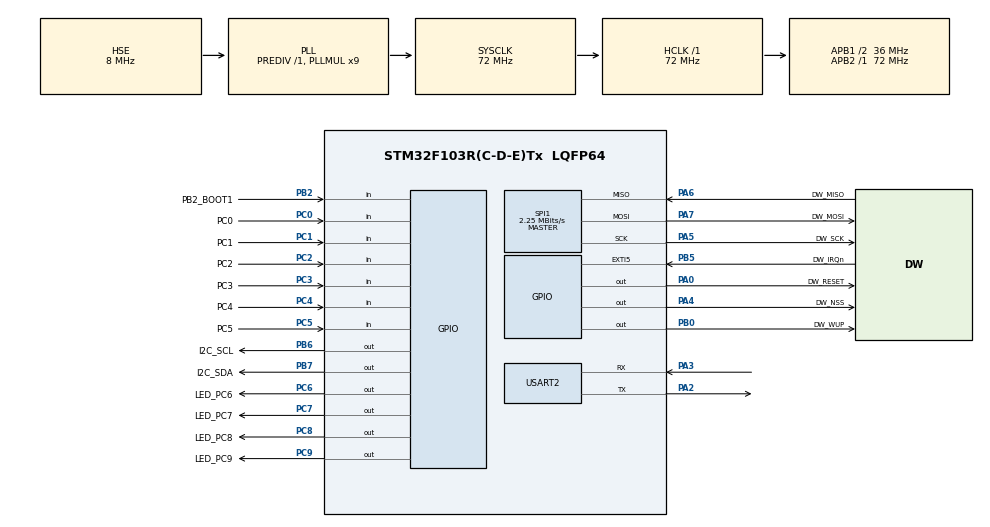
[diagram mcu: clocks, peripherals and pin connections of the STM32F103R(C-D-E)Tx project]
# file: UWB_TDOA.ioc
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Dma.Request0=USART2_RX
Dma.Request1=USART2_TX
Dma.USART2_RX.0.Direction=DMA_PERIPH_TO_MEMORY
Dma.USART2_RX.0.Instance=DMA1_Channel6
Dma.USART2_RX.0.MemDataAlignment=DMA_MDATAALIGN_BYTE
Dma.USART2_RX.0.MemInc=DMA_MINC_ENABLE
Dma.USART2_RX.0.Mode=DMA_CIRCULAR
Dma.USART2_RX.0.PeriphDataAlignment=DMA_PDATAALIGN_BYTE
Dma.USART2_RX.0.PeriphInc=DMA_PINC_DISABLE
Dma.USART2_RX.0.Priority=DMA_PRIORITY_LOW
Dma.USART2_TX.1.Direction=DMA_MEMORY_TO_PERIPH
Dma.USART2_TX.1.Instance=DMA1_Channel7
Dma.USART2_TX.1.MemDataAlignment=DMA_MDATAALIGN_BYTE
Dma.USART2_TX.1.MemInc=DMA_MINC_ENABLE
Dma.USART2_TX.1.Mode=DMA_NORMAL
Dma.USART2_TX.1.PeriphDataAlignment=DMA_PDATAALIGN_BYTE
Dma.USART2_TX.1.PeriphInc=DMA_PINC_DISABLE
Dma.USART2_TX.1.Priority=DMA_PRIORITY_LOW
IWDG.Prescaler=IWDG_PRESCALER_64
IWDG.Reload=1000
Mcu.Family=STM32F1
Mcu.Name=STM32F103R(C-D-E)Tx
Mcu.Package=LQFP64
NVIC.DMA1_Channel6_IRQn=true\:0\:0\:false\:false\:true\:false\:true\:true
NVIC.DMA1_Channel7_IRQn=true\:0\:0\:false\:false\:true\:false\:true\:true
NVIC.EXTI9_5_IRQn=true\:0\:0\:false\:false\:true\:true\:true\:true
NVIC.PriorityGroup=NVIC_PRIORITYGROUP_4
NVIC.USART2_IRQn=true\:1\:0\:true\:false\:true\:true\:true\:true
PA0-WKUP.GPIO_Label=DW_RESET
PA0-WKUP.Signal=GPIO_Output
PA13.Mode=Serial_Wire
PA13.Signal=SYS_JTMS-SWDIO
PA14.Mode=Serial_Wire
PA14.Signal=SYS_JTCK-SWCLK
PA2.GPIO_Speed=GPIO_SPEED_FREQ_MEDIUM
PA2.Mode=Asynchronous
PA2.Signal=USART2_TX
PA3.Mode=Asynchronous
PA3.Signal=USART2_RX
PA4.GPIO_Label=DW_NSS
PA4.GPIO_Speed=GPIO_SPEED_FREQ_HIGH
PA4.PinState=GPIO_PIN_SET
PA4.Signal=GPIO_Output
PA5.GPIO_Label=DW_SCK
PA5.Mode=Full_Duplex_Master
PA5.Signal=SPI1_SCK
PA6.GPIO_Label=DW_MISO
PA6.GPIO_PuPd=GPIO_PULLDOWN
PA6.Mode=Full_Duplex_Master
PA6.Signal=SPI1_MISO
PA7.GPIO_Label=DW_MOSI
PA7.Mode=Full_Duplex_Master
PA7.Signal=SPI1_MOSI
PB0.GPIO_Label=DW_WUP
PB0.GPIO_PuPd=GPIO_PULLDOWN
PB0.Signal=GPIO_Output
PB2.GPIO_Label=PB2_BOOT1
PB2.Signal=GPIO_Input
PB5.GPIO_Label=DW_IRQn
PB5.GPIO_PuPd=GPIO_PULLDOWN
PB5.Signal=GPXTI5
PB6.GPIO_Label=I2C_SCL
PB6.GPIO_ModeDefaultOutputPP=GPIO_MODE_OUTPUT_OD
PB6.GPIO_PuPd=GPIO_NOPULL
PB6.GPIO_Speed=GPIO_SPEED_FREQ_MEDIUM
PB6.Signal=GPIO_Output
PB7.GPIO_Label=I2C_SDA
PB7.GPIO_ModeDefaultOutputPP=GPIO_MODE_OUTPUT_OD
PB7.GPIO_PuPd=GPIO_NOPULL
PB7.GPIO_Speed=GPIO_SPEED_FREQ_MEDIUM
PB7.Signal=GPIO_Output
PC0.GPIO_Label=PC0
PC0.Signal=GPIO_Input
PC1.GPIO_Label=PC1
PC1.Signal=GPIO_Input
PC2.GPIO_Label=PC2
PC2.Signal=GPIO_Input
PC3.GPIO_Label=PC3
PC3.Signal=GPIO_Input
PC4.GPIO_Label=PC4
PC4.Signal=GPIO_Input
PC5.GPIO_Label=PC5
PC5.Signal=GPIO_Input
PC6.GPIO_Label=LED_PC6
PC6.Signal=GPIO_Output
PC7.GPIO_Label=LED_PC7
PC7.Signal=GPIO_Output
PC8.GPIO_Label=LED_PC8
PC8.Signal=GPIO_Output
PC9.GPIO_Label=LED_PC9
PC9.Signal=GPIO_Output
PD0-OSC_IN.Mode=HSE-External-Oscillator
PD0-OSC_IN.Signal=RCC_OSC_IN
PD1-OSC_OUT.Mode=HSE-External-Oscillator
PD1-OSC_OUT.Signal=RCC_OSC_OUT
ProjectManager.HeapSize=0x400
ProjectManager.StackSize=0x400
ProjectManager.TargetToolchain=Makefile
RCC.AHBFreq_Value=72000000
RCC.APB1CLKDivider=RCC_HCLK_DIV2
RCC.APB1Freq_Value=36000000
RCC.APB1TimFreq_Value=72000000
RCC.APB2Freq_Value=72000000
RCC.APB2TimFreq_Value=72000000
RCC.HCLKFreq_Value=72000000
RCC.PLLMUL=RCC_PLL_MUL9
RCC.PLLSourceVirtual=RCC_PLLSOURCE_HSE
RCC.SYSCLKFreq_VALUE=72000000
RCC.SYSCLKSource=RCC_SYSCLKSOURCE_PLLCLK
RCC.USBFreq_Value=72000000
SPI1.BaudRatePrescaler=SPI_BAUDRATEPRESCALER_32
SPI1.CalculateBaudRate=2.25 MBits/s
SPI1.Direction=SPI_DIRECTION_2LINES
SPI1.Mode=SPI_MODE_MASTER
SPI1.VirtualType=VM_MASTER
TIM6.Prescaler=64-1
USART2.VirtualMode=VM_ASYNC
VP_IWDG_VS_IWDG.Mode=IWDG_Activate
VP_TIM6_VS_ClockSourceINT.Mode=Enable_Timer
board=custom

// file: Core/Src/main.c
/* USER CODE BEGIN Header */
/**
 ******************************************************************************
 * @file           : main.c
 * @brief          : Main program body
 ******************************************************************************
 * @attention
 *
 * Copyright (c) 2023 STMicroelectronics.
 * All rights reserved.
 *
 * This software is licensed under terms that can be found in the LICENSE file
 * in the root directory of this software component.
 * If no LICENSE file comes with this software, it is provided AS-IS.
 *
 ******************************************************************************
 */
/* USER CODE END Header */
#include "main.h"
#include "dma.h"
#include "iwdg.h"
#include "spi.h"
#include "tim.h"
#include "usart.h"
#include "gpio.h"

/* USER CODE BEGIN Includes */
#include "port.h"
#include "instance.h"
#if (OLED == 1)
#include "ssd1306.h"
#endif
#include <errno.h>
#include <sys/unistd.h>
/* USER CODE END Includes */

/* USER CODE BEGIN PTD */
#define SOFTWARE_VER_STRING "RTLS V1"
/* USER CODE END PTD */

/* USER CODE BEGIN PM */
extern uint8_t UART_RX_BUF[1];
/* USER CODE END PM */

/* USER CODE BEGIN PV */
extern void dw_main(void);
/* USER CODE END PV */

void SystemClock_Config(void);

int main(void)
{

  /* MCU Configuration--------------------------------------------------------*/

  /* Reset of all peripherals, Initializes the Flash interface and the Systick. */
  HAL_Init();

  /* Configure the system clock */
  SystemClock_Config();

  /* Initialize all configured peripherals */
  MX_GPIO_Init();
  MX_DMA_Init();
  MX_TIM6_Init();
  MX_USART2_UART_Init();
  MX_SPI1_Init();
  MX_IWDG_Init();
  /* USER CODE BEGIN 2 */
#if (OLED == 1)
  SSD1306_Init();
  LCD_Title(SOFTWARE_VER_STRING);
#endif
  HAL_UART_Receive_DMA(&huart2, &UART_RX_BUF[0], 1); // 启动DMA接收
  setup_DW1000RSTnIRQ(0);
  dw_main();
  /* USER CODE END 2 */

  /* Infinite loop */
  while (1)
  {

  }
}

void SystemClock_Config(void)
{
  RCC_OscInitTypeDef RCC_OscInitStruct = {0};
  RCC_ClkInitTypeDef RCC_ClkInitStruct = {0};

  /** Initializes the RCC Oscillators according to the specified parameters
   * in the RCC_OscInitTypeDef structure.
   */
  RCC_OscInitStruct.OscillatorType = RCC_OSCILLATORTYPE_LSI | RCC_OSCILLATORTYPE_HSE;
  RCC_OscInitStruct.HSEState = RCC_HSE_ON;
  RCC_OscInitStruct.HSEPredivValue = RCC_HSE_PREDIV_DIV1;
  RCC_OscInitStruct.HSIState = RCC_HSI_ON;
  RCC_OscInitStruct.LSIState = RCC_LSI_ON;
  RCC_OscInitStruct.PLL.PLLState = RCC_PLL_ON;
  RCC_OscInitStruct.PLL.PLLSource = RCC_PLLSOURCE_HSE;
  RCC_OscInitStruct.PLL.PLLMUL = RCC_PLL_MUL9;
  if (HAL_RCC_OscConfig(&RCC_OscInitStruct) != HAL_OK)
  {
    Error_Handler();
  }

  /** Initializes the CPU, AHB and APB buses clocks
   */
  RCC_ClkInitStruct.ClockType = RCC_CLOCKTYPE_HCLK | RCC_CLOCKTYPE_SYSCLK | RCC_CLOCKTYPE_PCLK1 | RCC_CLOCKTYPE_PCLK2;
  RCC_ClkInitStruct.SYSCLKSource = RCC_SYSCLKSOURCE_PLLCLK;
  RCC_ClkInitStruct.AHBCLKDivider = RCC_SYSCLK_DIV1;
  RCC_ClkInitStruct.APB1CLKDivider = RCC_HCLK_DIV2;
  RCC_ClkInitStruct.APB2CLKDivider = RCC_HCLK_DIV1;

  if (HAL_RCC_ClockConfig(&RCC_ClkInitStruct, FLASH_LATENCY_2) != HAL_OK)
  {
    Error_Handler();
  }
}

/* USER CODE BEGIN 4 */
int _write(int file, char *data, int len)
{
  if ((file != STDOUT_FILENO) && (file != STDERR_FILENO))
  {
    errno = EBADF;
    return -1;
  }

  // arbitrary timeout 1000
  HAL_StatusTypeDef status =
      HAL_UART_Transmit(&huart2, (uint8_t *)data, len, 1000);

  // return # of bytes written - as best we can tell
  return (status == HAL_OK ? len : 0);
}
/* USER CODE END 4 */

void Error_Handler(void)
{
  __disable_irq();
  while (1)
  {
  }
}
